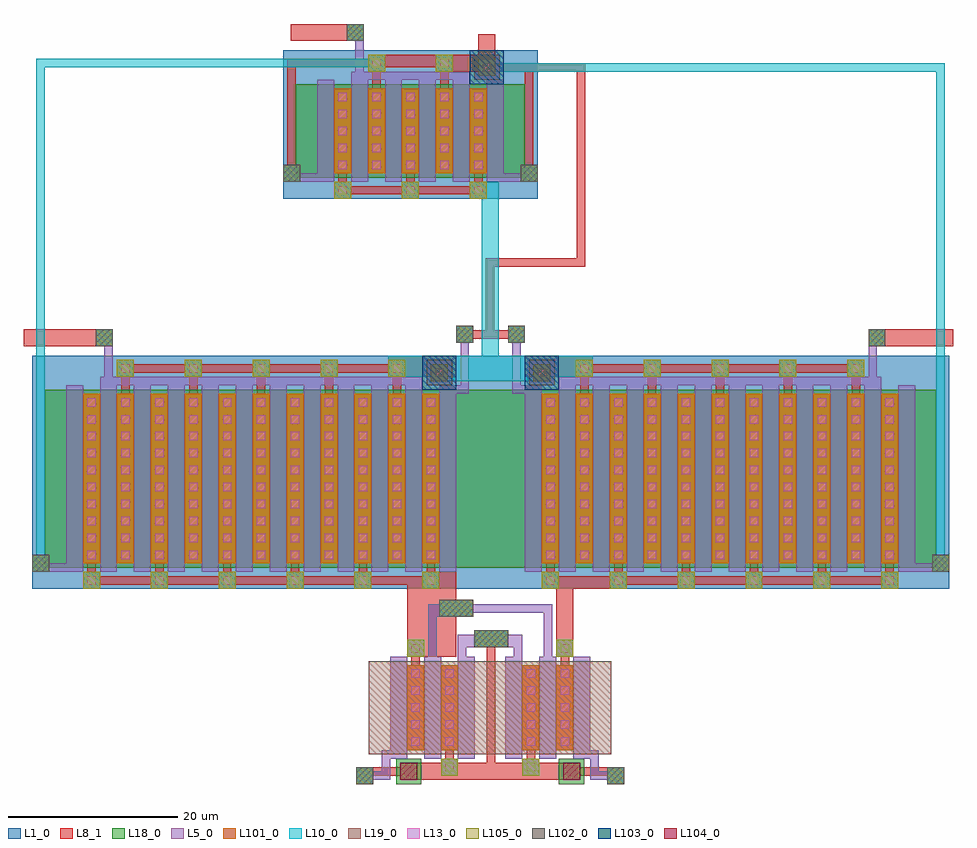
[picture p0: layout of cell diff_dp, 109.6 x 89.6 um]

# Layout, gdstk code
from math import pi, radians
import gdstk
lib = gdstk.Library(unit=1e-6, precision=1e-07)
def R(c, l, rs):  # rectangles x0, y0, x1, y1
    for r in rs: c.add(gdstk.rectangle(r[:2], r[2:], *l))
def P(c, l, *ps):  # polygons
    for p in ps: c.add(gdstk.Polygon(p, *l))
L1_0 = (1, 0)
L5_0 = (5, 0)
L8_1 = (8, 1)
L10_0 = (10, 0)
L13_0 = (13, 0)
L18_0 = (18, 0)
L19_0 = (19, 0)
L101_0 = (101, 0)
L102_0 = (102, 0)
L103_0 = (103, 0)
L104_0 = (104, 0)
L105_0 = (105, 0)

dummy_poly_nfet_10 = lib.new_cell('dummy_poly_nfet_10')
R(dummy_poly_nfet_10, L19_0, [(-0.5,2.5,4,13.5)])
dummy_poly_nfet_10.add(gdstk.FlexPath([(3,3),(3,13)], 2, ends="extended", simple_path=True, layer=5, datatype=0))  # L5_0

dcont = lib.new_cell('dcont')
R(dcont, L8_1, [(-1,-1,1,1)])
R(dcont, L13_0, [(-0.5,-0.5,0.5,0.5)])
R(dcont, L101_0, [(-1,-1,1,1)])

via = lib.new_cell('Via')
R(via, L8_1, [(-1,-1,1,1)])
R(via, L10_0, [(-1,-1,1,1)])
R(via, L13_0, [(-0.5,-0.5,0.5,0.5)])
R(via, L105_0, [(-1,-1,1,1)])

dcont1 = lib.new_cell('dcont1')
R(dcont1, L8_1, [(-1,-1,1,1)])
R(dcont1, L13_0, [(-0.5,-0.5,0.5,0.5)])
R(dcont1, L101_0, [(-1,-1,1,1)])

nsubcont = lib.new_cell('nsubcont')
R(nsubcont, L1_0, [(-2,-2,2,2)])
R(nsubcont, L19_0, [(-1.5,-1.5,1.5,1.5)])
R(nsubcont, L103_0, [(-2,-2,2,2)])
nsubcont.add(gdstk.Reference(dcont1, (0,0)))

pch_1 = lib.new_cell('Pch$1')
R(pch_1, L1_0, [(-2,-1.5,20,16)])
P(pch_1, L8_1, [(4.5,-0.5),(4.5,3),(4,3),(4,13),(6,13),(6,3),(5.5,3),(5.5,0.5),(12.5,0.5),(12.5,3),(12,3),(12,13),(14,13),(14,3),(13.5,3),(13.5,-0.5)],
  [(0,3),(0,13),(0.5,13),(0.5,15.5),(17.5,15.5),(17.5,13),(18,13),(18,3),(16,3),(16,13),(16.5,13),(16.5,14.5),(9.5,14.5),(9.5,13),(10,13),(10,3),(8,3),(8,13),(8.5,13),(8.5,14.5),(1.5,14.5),(1.5,13),(2,13),(2,3)])
R(pch_1, L18_0, [(-0.5,2.5,18.5,13.5)])
pch_1.add(gdstk.FlexPath([(3,3),(3,13)], 2, ends="extended", simple_path=True, layer=5, datatype=0))  # L5_0
pch_1.add(gdstk.FlexPath([(7,3),(7,13)], 2, ends="extended", simple_path=True, layer=5, datatype=0))  # L5_0
pch_1.add(gdstk.FlexPath([(11,3),(11,13)], 2, ends="extended", simple_path=True, layer=5, datatype=0))  # L5_0
pch_1.add(gdstk.FlexPath([(15,3),(15,13)], 2, ends="extended", simple_path=True, layer=5, datatype=0))  # L5_0
pch_1.add(gdstk.FlexPath([(2,1.5),(8,1.5)], 1, ends="flush", simple_path=True, layer=5, datatype=0))  # L5_0
pch_1.add(gdstk.FlexPath([(6,1.5),(12,1.5)], 1, ends="flush", simple_path=True, layer=5, datatype=0))  # L5_0
pch_1.add(gdstk.FlexPath([(10,1.5),(16,1.5)], 1, ends="flush", simple_path=True, layer=5, datatype=0))  # L5_0
pch_1.add(gdstk.Reference(dcont, (1,4)))
pch_1.add(gdstk.Reference(dcont, (1,6)))
pch_1.add(gdstk.Reference(dcont, (1,8)))
pch_1.add(gdstk.Reference(dcont, (1,10)))
pch_1.add(gdstk.Reference(dcont, (1,12)))
pch_1.add(gdstk.Reference(dcont, (5,4)))
pch_1.add(gdstk.Reference(dcont, (5,6)))
pch_1.add(gdstk.Reference(dcont, (5,8)))
pch_1.add(gdstk.Reference(dcont, (5,10)))
pch_1.add(gdstk.Reference(dcont, (5,12)))
pch_1.add(gdstk.Reference(dcont, (9,4)))
pch_1.add(gdstk.Reference(dcont, (9,6)))
pch_1.add(gdstk.Reference(dcont, (9,8)))
pch_1.add(gdstk.Reference(dcont, (9,10)))
pch_1.add(gdstk.Reference(dcont, (9,12)))
pch_1.add(gdstk.Reference(dcont, (13,4)))
pch_1.add(gdstk.Reference(dcont, (13,6)))
pch_1.add(gdstk.Reference(dcont, (13,8)))
pch_1.add(gdstk.Reference(dcont, (13,10)))
pch_1.add(gdstk.Reference(dcont, (13,12)))
pch_1.add(gdstk.Reference(dcont, (17,4)))
pch_1.add(gdstk.Reference(dcont, (17,6)))
pch_1.add(gdstk.Reference(dcont, (17,8)))
pch_1.add(gdstk.Reference(dcont, (17,10)))
pch_1.add(gdstk.Reference(dcont, (17,12)))
pch_1.add(gdstk.Reference(via, (1,15)))
pch_1.add(gdstk.Reference(via, (5,0)))
pch_1.add(gdstk.Reference(via, (9,15)))
pch_1.add(gdstk.Reference(via, (13,0)))
pch_1.add(gdstk.Reference(via, (17,15)))
pch_1.add(gdstk.Reference(nsubcont, (18,0.5)))
pch_1.add(gdstk.Reference(via, (18,0.5)))

psubcont = lib.new_cell('psubcont')
R(psubcont, L18_0, [(-1.5,-1.5,1.5,1.5)])
R(psubcont, L104_0, [(-1,-1,1,1)])
psubcont.add(gdstk.Reference(dcont1, (0,0)))

nch_1 = lib.new_cell('Nch$1')
P(nch_1, L8_1, [(0.5,1),(0.5,3),(0,3),(0,13),(2,13),(2,3),(1.5,3),(1.5,1)],
  [(4,3),(4,13),(4.5,13),(4.5,15),(5.5,15),(5.5,13),(6,13),(6,3)])
R(nch_1, L19_0, [(-0.5,2.5,6.5,13.5)])
nch_1.add(gdstk.FlexPath([(3,3),(3,13)], 2, ends="extended", simple_path=True, layer=5, datatype=0))  # L5_0
nch_1.add(gdstk.Reference(dcont, (1,4)))
nch_1.add(gdstk.Reference(dcont, (1,6)))
nch_1.add(gdstk.Reference(dcont, (1,8)))
nch_1.add(gdstk.Reference(dcont, (1,10)))
nch_1.add(gdstk.Reference(dcont, (1,12)))
nch_1.add(gdstk.Reference(dcont, (5,4)))
nch_1.add(gdstk.Reference(dcont, (5,6)))
nch_1.add(gdstk.Reference(dcont, (5,8)))
nch_1.add(gdstk.Reference(dcont, (5,10)))
nch_1.add(gdstk.Reference(dcont, (5,12)))
nch_1.add(gdstk.Reference(via, (1,1)))
nch_1.add(gdstk.Reference(via, (5,15)))
nch_1.add(gdstk.Reference(psubcont, (5.8,0.5)))
nch_1.add(gdstk.Reference(via, (5.8,0.5)))

poly_contact = lib.new_cell('poly_contact')
R(poly_contact, L5_0, [(264.2,50.1,266.2,52.1)])
R(poly_contact, L8_1, [(264.2,50.1,266.2,52.1)])
R(poly_contact, L10_0, [(264.2,50.1,266.2,52.1)])
R(poly_contact, L102_0, [(264.2,50.1,266.2,52.1)])
R(poly_contact, L105_0, [(264.2,50.1,266.2,52.1)])

dummy_poly_pfet_10_l = lib.new_cell('dummy_poly_pfet_10_L')
R(dummy_poly_pfet_10_l, L1_0, [(-2,0,4,17.5)])
R(dummy_poly_pfet_10_l, L18_0, [(-0.5,2.5,4,13.5)])
dummy_poly_pfet_10_l.add(gdstk.FlexPath([(3,3),(3,13)], 2, ends="extended", simple_path=True, layer=5, datatype=0))  # L5_0

dummy_poly_pfet_20_l = lib.new_cell('dummy_poly_pfet_20_L')
R(dummy_poly_pfet_20_l, L1_0, [(-2,0,4,27.5)])
R(dummy_poly_pfet_20_l, L18_0, [(-0.5,2.5,4,23.5)])
dummy_poly_pfet_20_l.add(gdstk.FlexPath([(3,3),(3,23)], 2, ends="extended", simple_path=True, layer=5, datatype=0))  # L5_0

dummy_poly_pfet_20_r = lib.new_cell('dummy_poly_pfet_20_R')
R(dummy_poly_pfet_20_r, L1_0, [(2,0,8,27.5)])
R(dummy_poly_pfet_20_r, L18_0, [(2,2.5,6.5,23.5)])
dummy_poly_pfet_20_r.add(gdstk.FlexPath([(3,3),(3,23)], 2, ends="extended", simple_path=True, layer=5, datatype=0))  # L5_0

pch = lib.new_cell('Pch')
R(pch, L1_0, [(-2,-1.5,44,26)])
P(pch, L8_1, [(4.5,-0.5),(4.5,3),(4,3),(4,23),(6,23),(6,3),(5.5,3),(5.5,0.5),(12.5,0.5),(12.5,3),(12,3),(12,23),(14,23),(14,3),(13.5,3),(13.5,0.5),(20.5,0.5),(20.5,3),(20,3),(20,23),(22,23),(22,3),(21.5,3),(21.5,0.5),(28.5,0.5),(28.5,3),(28,3),(28,23),(30,23),(30,3),(29.5,3),(29.5,0.5),(36.5,0.5),(36.5,3),(36,3),(36,23),(38,23),(38,3),(37.5,3),(37.5,-0.5)],
  [(0,3),(0,23),(0.5,23),(0.5,25.5),(41.5,25.5),(41.5,23),(42,23),(42,3),(40,3),(40,23),(40.5,23),(40.5,24.5),(33.5,24.5),(33.5,23),(34,23),(34,3),(32,3),(32,23),(32.5,23),(32.5,24.5),(25.5,24.5),(25.5,23),(26,23),(26,3),(24,3),(24,23),(24.5,23),(24.5,24.5),(17.5,24.5),(17.5,23),(18,23),(18,3),(16,3),(16,23),(16.5,23),(16.5,24.5),(9.5,24.5),(9.5,23),(10,23),(10,3),(8,3),(8,23),(8.5,23),(8.5,24.5),(1.5,24.5),(1.5,23),(2,23),(2,3)])
R(pch, L18_0, [(-0.5,2.5,42.5,23.5)])
pch.add(gdstk.FlexPath([(3,3),(3,23)], 2, ends="extended", simple_path=True, layer=5, datatype=0))  # L5_0
pch.add(gdstk.FlexPath([(7,3),(7,23)], 2, ends="extended", simple_path=True, layer=5, datatype=0))  # L5_0
pch.add(gdstk.FlexPath([(11,3),(11,23)], 2, ends="extended", simple_path=True, layer=5, datatype=0))  # L5_0
pch.add(gdstk.FlexPath([(15,3),(15,23)], 2, ends="extended", simple_path=True, layer=5, datatype=0))  # L5_0
pch.add(gdstk.FlexPath([(19,3),(19,23)], 2, ends="extended", simple_path=True, layer=5, datatype=0))  # L5_0
pch.add(gdstk.FlexPath([(23,3),(23,23)], 2, ends="extended", simple_path=True, layer=5, datatype=0))  # L5_0
pch.add(gdstk.FlexPath([(27,3),(27,23)], 2, ends="extended", simple_path=True, layer=5, datatype=0))  # L5_0
pch.add(gdstk.FlexPath([(31,3),(31,23)], 2, ends="extended", simple_path=True, layer=5, datatype=0))  # L5_0
pch.add(gdstk.FlexPath([(35,3),(35,23)], 2, ends="extended", simple_path=True, layer=5, datatype=0))  # L5_0
pch.add(gdstk.FlexPath([(39,3),(39,23)], 2, ends="extended", simple_path=True, layer=5, datatype=0))  # L5_0
pch.add(gdstk.FlexPath([(2,1.5),(8,1.5)], 1, ends="flush", simple_path=True, layer=5, datatype=0))  # L5_0
pch.add(gdstk.FlexPath([(6,1.5),(12,1.5)], 1, ends="flush", simple_path=True, layer=5, datatype=0))  # L5_0
pch.add(gdstk.FlexPath([(10,1.5),(16,1.5)], 1, ends="flush", simple_path=True, layer=5, datatype=0))  # L5_0
pch.add(gdstk.FlexPath([(14,1.5),(20,1.5)], 1, ends="flush", simple_path=True, layer=5, datatype=0))  # L5_0
pch.add(gdstk.FlexPath([(18,1.5),(24,1.5)], 1, ends="flush", simple_path=True, layer=5, datatype=0))  # L5_0
pch.add(gdstk.FlexPath([(22,1.5),(28,1.5)], 1, ends="flush", simple_path=True, layer=5, datatype=0))  # L5_0
pch.add(gdstk.FlexPath([(26,1.5),(32,1.5)], 1, ends="flush", simple_path=True, layer=5, datatype=0))  # L5_0
pch.add(gdstk.FlexPath([(30,1.5),(36,1.5)], 1, ends="flush", simple_path=True, layer=5, datatype=0))  # L5_0
pch.add(gdstk.FlexPath([(34,1.5),(40,1.5)], 1, ends="flush", simple_path=True, layer=5, datatype=0))  # L5_0
pch.add(gdstk.Reference(dcont, (1,12)))
pch.add(gdstk.Reference(dcont, (5,12)))
pch.add(gdstk.Reference(dcont, (9,12)))
pch.add(gdstk.Reference(dcont, (13,12)))
pch.add(gdstk.Reference(dcont, (17,12)))
pch.add(gdstk.Reference(dcont, (21,12)))
pch.add(gdstk.Reference(dcont, (25,12)))
pch.add(gdstk.Reference(dcont, (29,12)))
pch.add(gdstk.Reference(dcont, (33,12)))
pch.add(gdstk.Reference(dcont, (37,12)))
pch.add(gdstk.Reference(dcont, (41,12)))
pch.add(gdstk.Reference(dcont, (25,22)))
pch.add(gdstk.Reference(dcont, (25,14)))
pch.add(gdstk.Reference(dcont, (29,14)))
pch.add(gdstk.Reference(dcont, (29,16)))
pch.add(gdstk.Reference(dcont, (29,18)))
pch.add(gdstk.Reference(dcont, (29,20)))
pch.add(gdstk.Reference(dcont, (29,22)))
pch.add(gdstk.Reference(dcont, (25,16)))
pch.add(gdstk.Reference(dcont, (33,14)))
pch.add(gdstk.Reference(dcont, (33,16)))
pch.add(gdstk.Reference(dcont, (33,18)))
pch.add(gdstk.Reference(dcont, (33,20)))
pch.add(gdstk.Reference(dcont, (33,22)))
pch.add(gdstk.Reference(dcont, (25,18)))
pch.add(gdstk.Reference(dcont, (37,14)))
pch.add(gdstk.Reference(dcont, (37,16)))
pch.add(gdstk.Reference(dcont, (37,18)))
pch.add(gdstk.Reference(dcont, (37,20)))
pch.add(gdstk.Reference(dcont, (37,22)))
pch.add(gdstk.Reference(dcont, (25,20)))
pch.add(gdstk.Reference(dcont, (41,14)))
pch.add(gdstk.Reference(dcont, (41,16)))
pch.add(gdstk.Reference(dcont, (41,18)))
pch.add(gdstk.Reference(dcont, (41,20)))
pch.add(gdstk.Reference(dcont, (41,22)))
pch.add(gdstk.Reference(via, (25,25)))
pch.add(gdstk.Reference(via, (33,25)))
pch.add(gdstk.Reference(via, (41,25)))
pch.add(gdstk.Reference(dcont, (5,18)))
pch.add(gdstk.Reference(dcont, (5,20)))
pch.add(gdstk.Reference(dcont, (5,22)))
pch.add(gdstk.Reference(dcont, (1,16)))
pch.add(gdstk.Reference(dcont, (9,14)))
pch.add(gdstk.Reference(dcont, (9,16)))
pch.add(gdstk.Reference(dcont, (9,18)))
pch.add(gdstk.Reference(dcont, (9,20)))
pch.add(gdstk.Reference(dcont, (9,22)))
pch.add(gdstk.Reference(dcont, (1,18)))
pch.add(gdstk.Reference(dcont, (13,14)))
pch.add(gdstk.Reference(dcont, (13,16)))
pch.add(gdstk.Reference(dcont, (13,18)))
pch.add(gdstk.Reference(dcont, (13,20)))
pch.add(gdstk.Reference(dcont, (13,22)))
pch.add(gdstk.Reference(dcont, (1,20)))
pch.add(gdstk.Reference(dcont, (17,14)))
pch.add(gdstk.Reference(dcont, (17,16)))
pch.add(gdstk.Reference(dcont, (17,18)))
pch.add(gdstk.Reference(dcont, (17,20)))
pch.add(gdstk.Reference(dcont, (17,22)))
pch.add(gdstk.Reference(dcont, (1,22)))
pch.add(gdstk.Reference(dcont, (21,14)))
pch.add(gdstk.Reference(dcont, (21,16)))
pch.add(gdstk.Reference(dcont, (21,18)))
pch.add(gdstk.Reference(dcont, (21,20)))
pch.add(gdstk.Reference(dcont, (21,22)))
pch.add(gdstk.Reference(via, (1,25)))
pch.add(gdstk.Reference(via, (9,25)))
pch.add(gdstk.Reference(via, (17,25)))
pch.add(gdstk.Reference(dcont, (1,14)))
pch.add(gdstk.Reference(dcont, (5,14)))
pch.add(gdstk.Reference(dcont, (5,16)))
pch.add(gdstk.Reference(dcont, (1,4)))
pch.add(gdstk.Reference(dcont, (1,6)))
pch.add(gdstk.Reference(dcont, (21,4)))
pch.add(gdstk.Reference(dcont, (21,6)))
pch.add(gdstk.Reference(dcont, (21,8)))
pch.add(gdstk.Reference(dcont, (21,10)))
pch.add(gdstk.Reference(dcont, (13,4)))
pch.add(gdstk.Reference(dcont, (13,6)))
pch.add(gdstk.Reference(dcont, (13,8)))
pch.add(gdstk.Reference(dcont, (13,10)))
pch.add(gdstk.Reference(dcont, (5,4)))
pch.add(gdstk.Reference(dcont, (5,6)))
pch.add(gdstk.Reference(dcont, (9,4)))
pch.add(gdstk.Reference(dcont, (9,6)))
pch.add(gdstk.Reference(dcont, (9,8)))
pch.add(gdstk.Reference(dcont, (9,10)))
pch.add(gdstk.Reference(dcont, (17,4)))
pch.add(gdstk.Reference(dcont, (17,6)))
pch.add(gdstk.Reference(dcont, (17,8)))
pch.add(gdstk.Reference(via, (5,0)))
pch.add(gdstk.Reference(dcont, (17,10)))
pch.add(gdstk.Reference(via, (13,0)))
pch.add(gdstk.Reference(dcont, (5,8)))
pch.add(gdstk.Reference(via, (21,0)))
pch.add(gdstk.Reference(dcont, (5,10)))
pch.add(gdstk.Reference(dcont, (1,8)))
pch.add(gdstk.Reference(dcont, (1,10)))
pch.add(gdstk.Reference(dcont, (33,10)))
pch.add(gdstk.Reference(dcont, (41,4)))
pch.add(gdstk.Reference(dcont, (41,6)))
pch.add(gdstk.Reference(dcont, (41,8)))
pch.add(gdstk.Reference(dcont, (41,10)))
pch.add(gdstk.Reference(dcont, (29,8)))
pch.add(gdstk.Reference(dcont, (29,10)))
pch.add(gdstk.Reference(dcont, (25,8)))
pch.add(gdstk.Reference(dcont, (25,10)))
pch.add(gdstk.Reference(dcont, (25,4)))
pch.add(gdstk.Reference(dcont, (25,6)))
pch.add(gdstk.Reference(dcont, (37,4)))
pch.add(gdstk.Reference(dcont, (37,6)))
pch.add(gdstk.Reference(dcont, (37,8)))
pch.add(gdstk.Reference(dcont, (37,10)))
pch.add(gdstk.Reference(dcont, (29,4)))
pch.add(gdstk.Reference(dcont, (29,6)))
pch.add(gdstk.Reference(dcont, (33,4)))
pch.add(gdstk.Reference(via, (29,0)))
pch.add(gdstk.Reference(dcont, (33,6)))
pch.add(gdstk.Reference(via, (37,0)))
pch.add(gdstk.Reference(dcont, (33,8)))
pch.add(gdstk.Reference(nsubcont, (42,0.5)))
pch.add(gdstk.Reference(via, (42,0.5)))

dummy_poly_pfet_10_r = lib.new_cell('dummy_poly_pfet_10_R')
R(dummy_poly_pfet_10_r, L1_0, [(2,0,8,17.5)])
R(dummy_poly_pfet_10_r, L18_0, [(2,2.5,6.5,13.5)])
dummy_poly_pfet_10_r.add(gdstk.FlexPath([(3,3),(3,13)], 2, ends="extended", simple_path=True, layer=5, datatype=0))  # L5_0

diff_dp = lib.new_cell('diff_dp')
R(diff_dp, L1_0, [(207.3,23.5,215.6,51)])
R(diff_dp, L5_0, [(195.6,0.5,197.6,2.5), (225.2,0.5,227.2,2.5), (208.6,16.6,209.5,17.1), (209.5,16.6,211.5,18.6), (211.5,16.6,213.5,18.6), (213.5,16.6,214.2,17.1), (205.1,20.2,205.4,20.7), (157.4,25.5,159.4,27.5), (263.5,25.5,265.5,27.5), (207.4,52.5,209.4,54.5), (213.5,52.5,215.5,54.5), (187,71.5,189,73.5), (215,71.5,217,73.5)])
R(diff_dp, L8_1, [(157.4,25.5,159.4,27.5), (263.5,25.5,265.5,27.5), (199.4,48.5,207.4,51), (215.5,48.5,223.5,51), (156.4,52.1,166.9,54.1), (256,52.1,266,54.1), (199,86,205,86.5), (187.9,88.1,195,90.1)])
P(diff_dp, L8_1, [(195.6,0.5),(195.6,2.5),(201.8,2.5),(201.8,1.5),(197.6,1.5),(197.6,0.5)],
  [(225.2,0.5),(225.2,1.5),(221,1.5),(221,2.5),(227.2,2.5),(227.2,0.5)],
  [(202.6,1),(202.6,3),(211,3),(211,16.6),(209.5,16.6),(209.5,18.6),(213.5,18.6),(213.5,16.6),(212,16.6),(212,3),(220.3,3),(220.3,1)],
  [(219.2,16.5),(219.2,23.5),(217.5,23.5),(217.5,25),(225.5,25),(225.5,23.5),(221.2,23.5),(221.2,16.5)],
  [(201.6,15.5),(201.6,24.5),(203.4,24.5),(203.4,25.5),(207.4,25.5),(207.4,15.5)],
  [(187,71.5),(187,73.5),(187.5,73.5),(187.5,86),(198.1,86),(198.1,85),(188.5,85),(188.5,73.5),(189,73.5),(189,71.5)],
  [(207.4,52.5),(207.4,54.5),(209.4,54.5),(209.4,54),(210.9,54),(210.9,62.5),(221.6,62.5),(221.6,84.5),(216.5,84.5),(216.5,73.5),(217,73.5),(217,71.5),(215,71.5),(215,73.5),(215.5,73.5),(215.5,84.5),(206,84.5),(206,86.5),(210,86.5),(210,88.9),(212,88.9),(212,85.5),(222.6,85.5),(222.6,61.5),(211.9,61.5),(211.9,54),(213.5,54),(213.5,54.5),(215.5,54.5),(215.5,52.5),(213.5,52.5),(213.5,53),(209.4,53),(209.4,52.5)])
R(diff_dp, L10_0, [(195.6,0.5,197.6,2.5), (225.2,0.5,227.2,2.5), (209.5,16.6,211.5,18.6), (211.5,16.6,213.5,18.6), (157.4,25.5,159.4,27.5), (263.5,25.5,265.5,27.5), (205.9,48,217,51), (199.4,48.5,223.5,51), (207.4,52.5,209.4,54.5), (213.5,52.5,215.5,54.5), (187,71.5,189,73.5), (215,71.5,217,73.5)])
R(diff_dp, L18_0, [(209.9,26,213,47)])
R(diff_dp, L19_0, [(208.1,4,214.7,15)])
R(diff_dp, L102_0, [(195.6,0.5,197.6,2.5), (225.2,0.5,227.2,2.5), (209.5,16.6,211.5,18.6), (211.5,16.6,213.5,18.6), (157.4,25.5,159.4,27.5), (263.5,25.5,265.5,27.5), (207.4,52.5,209.4,54.5), (213.5,52.5,215.5,54.5), (187,71.5,189,73.5), (215,71.5,217,73.5)])
R(diff_dp, L105_0, [(195.6,0.5,197.6,2.5), (225.2,0.5,227.2,2.5), (209.5,16.6,211.5,18.6), (211.5,16.6,213.5,18.6), (157.4,25.5,159.4,27.5), (263.5,25.5,265.5,27.5), (207.4,52.5,209.4,54.5), (213.5,52.5,215.5,54.5), (187,71.5,189,73.5), (215,71.5,217,73.5)])
diff_dp.add(gdstk.FlexPath([(158.4,26.5),(158.4,85.5),(198.5,85.5)], 1, ends="flush", simple_path=True, layer=10, datatype=0))  # L10_0
diff_dp.add(gdstk.FlexPath([(264.5,26.5),(264.5,85),(210.5,85)], 1, ends="flush", simple_path=True, layer=10, datatype=0))  # L10_0
diff_dp.add(gdstk.FlexPath([(209,70.5),(211.4,70.5),(211.4,48.5)], 2, ends="flush", simple_path=True, layer=10, datatype=0))  # L10_0
diff_dp.add(gdstk.FlexPath([(208.5,21.2),(218.2,21.2),(218.2,15.5)], 1, ends="flush", simple_path=True, layer=5, datatype=0))  # L5_0
diff_dp.add(gdstk.FlexPath([(199.1,4.5),(199.1,1.5),(196.1,1.5)], 1, ends="flush", simple_path=True, layer=5, datatype=0))  # L5_0
diff_dp.add(gdstk.FlexPath([(223.7,4.5),(223.7,1.5),(226.4,1.5)], 1, ends="flush", simple_path=True, layer=5, datatype=0))  # L5_0
diff_dp.add(gdstk.FlexPath([(157.9,26),(161.4,26)], 1, ends="flush", simple_path=True, layer=5, datatype=0))  # L5_0
diff_dp.add(gdstk.FlexPath([(264.9,26),(261.5,26)], 1, ends="flush", simple_path=True, layer=5, datatype=0))  # L5_0
diff_dp.add(gdstk.FlexPath([(187.5,72),(191,72)], 1, ends="flush", simple_path=True, layer=5, datatype=0))  # L5_0
diff_dp.add(gdstk.FlexPath([(216.5,72),(213,72)], 1, ends="flush", simple_path=True, layer=5, datatype=0))  # L5_0
diff_dp.add(gdstk.FlexPath([(204.6,14.4),(204.6,21.2),(207.4,21.2)], 1, ends="flush", simple_path=True, layer=5, datatype=0))  # L5_0
diff_dp.add(gdstk.FlexPath([(211.5,17.6),(208.1,17.6),(208.1,15)], 1, ends="flush", simple_path=True, layer=5, datatype=0))  # L5_0
diff_dp.add(gdstk.FlexPath([(211.6,17.6),(214.7,17.6),(214.7,15.2)], 1, ends="flush", simple_path=True, layer=5, datatype=0))  # L5_0
diff_dp.add(gdstk.FlexPath([(206.7,47),(208.4,47),(208.4,54)], 1, ends="flush", simple_path=True, layer=5, datatype=0))  # L5_0
diff_dp.add(gdstk.FlexPath([(215.5,47),(214.5,47),(214.5,54)], 1, ends="flush", simple_path=True, layer=5, datatype=0))  # L5_0
diff_dp.add(gdstk.FlexPath([(196,82.3),(196,88.6),(194.5,88.6)], 1, ends="flush", simple_path=True, layer=5, datatype=0))  # L5_0
diff_dp.add(gdstk.FlexPath([(166.4,46.3),(166.4,52.6)], 1, ends="flush", simple_path=True, layer=5, datatype=0))  # L5_0
diff_dp.add(gdstk.FlexPath([(256.5,46.3),(256.5,53.5)], 1, ends="flush", simple_path=True, layer=5, datatype=0))  # L5_0
diff_dp.add(gdstk.Reference(dummy_poly_nfet_10, (197.6,1.5)))
diff_dp.add(gdstk.Reference(dummy_poly_nfet_10, (225.2,17.5), rotation=pi))
diff_dp.add(gdstk.Reference(pch_1, (193,85.5), x_reflection=True))
diff_dp.add(gdstk.Reference(nch_1, (215.2,1.5)))
diff_dp.add(gdstk.Reference(nch_1, (207.6,1.5), rotation=pi, x_reflection=True))
diff_dp.add(gdstk.Reference(dummy_poly_nfet_10, (211.6,17.5), rotation=pi))
diff_dp.add(gdstk.Reference(dummy_poly_nfet_10, (211.2,1.5)))
diff_dp.add(gdstk.Reference(poly_contact, (-56.8,-29.9)))
diff_dp.add(gdstk.Reference(poly_contact, (-58.8,-29.9)))
diff_dp.add(gdstk.Reference(poly_contact, (-69.7,38)))
diff_dp.add(gdstk.Reference(poly_contact, (-8.2,2)))
diff_dp.add(gdstk.Reference(dummy_poly_pfet_10_l, (189,69.5)))
diff_dp.add(gdstk.Reference(dummy_poly_pfet_20_l, (159.4,23.5)))
diff_dp.add(gdstk.Reference(dummy_poly_pfet_20_r, (257.5,23.5)))
diff_dp.add(gdstk.Reference(dummy_poly_pfet_20_r, (203.4,23.5)))
diff_dp.add(gdstk.Reference(dummy_poly_pfet_20_l, (213.5,23.5)))
diff_dp.add(gdstk.Reference(pch, (163.4,49.5), x_reflection=True))
diff_dp.add(gdstk.Reference(pch, (259.5,49.5), rotation=pi))
diff_dp.add(gdstk.Reference(poly_contact, (-99.3,2)))
diff_dp.add(gdstk.Reference(dummy_poly_pfet_10_r, (209,69.5)))

lib.write_gds('diff_dp.gds')
